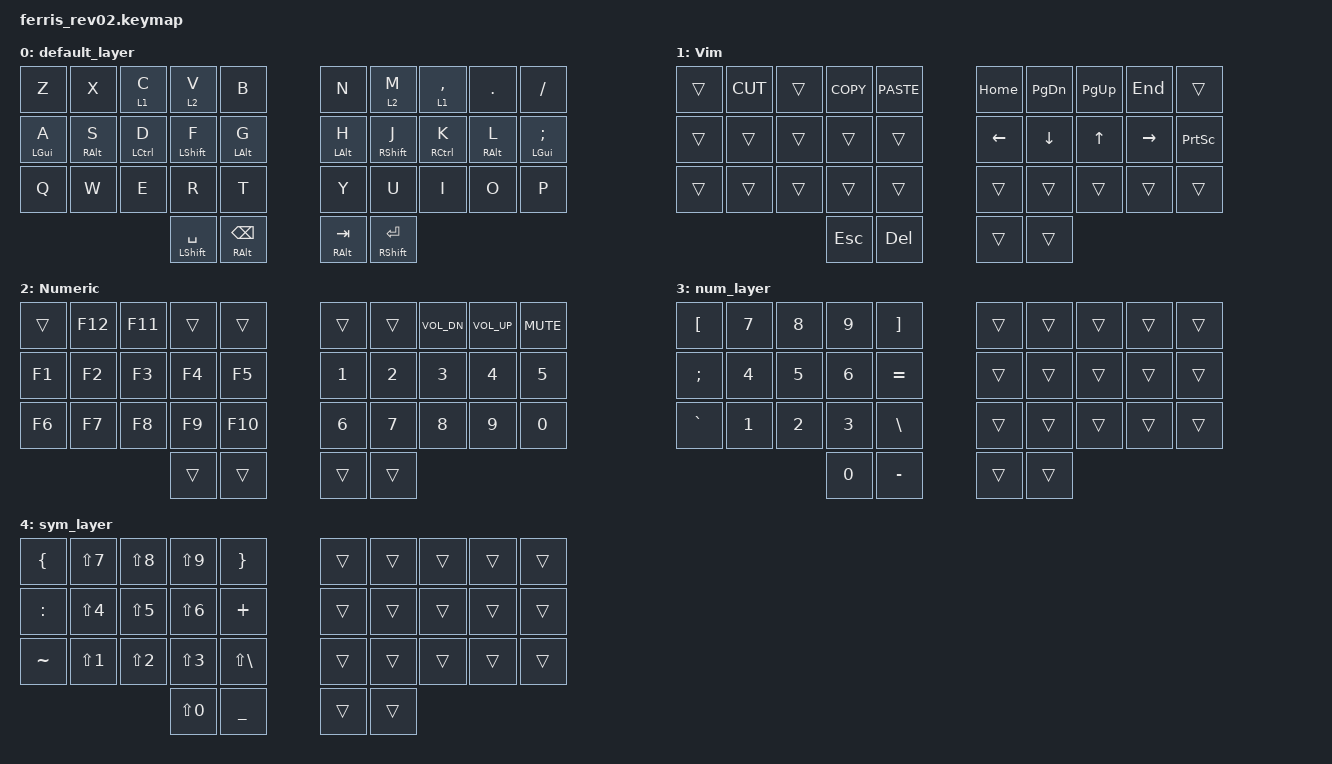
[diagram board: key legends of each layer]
/*
 * Copyright (c) 2020 The ZMK Contributors
 *
 * SPDX-License-Identifier: MIT
 */

#include <behaviors.dtsi>
#include <dt-bindings/zmk/keys.h>

#define NAV_L 1
#define OTHER_L 2
#define NUM_L 3
#define SYM_L 4

// Using layer taps on thumbs, having quick tap as well helps w/ repeating space/backspace

&lt { quick-tap-ms = <200>; };

/ {
    behaviors {
        hm: homerow_mods {
            compatible = "zmk,behavior-hold-tap";
            #binding-cells = <2>;
            tapping-term-ms = <200>;
            flavor = "tap-preferred";
            bindings = <&kp>, <&kp>;
        };
    };

    keymap {
        compatible = "zmk,keymap";

        default_layer {
            bindings = <
&kp Z       &kp X            &lt 1 C      &lt 2 V               &kp B                      &kp N              &lt 2 M                &lt 1 COMMA  &kp DOT          &kp FSLH
&hm LGUI A  &hm RIGHT_ALT S  &hm LCTRL D  &hm LSHFT F           &hm LEFT_ALT G             &hm LEFT_ALT H     &hm RSHFT J            &hm RCTRL K  &hm RIGHT_ALT L  &hm LGUI SEMI
&kp Q       &kp W            &kp E        &kp R                 &kp T                      &kp Y              &kp U                  &kp I        &kp O            &kp P
                                          &mt LEFT_SHIFT SPACE  &mt RIGHT_ALT BACKSPACE    &mt RIGHT_ALT TAB  &mt RIGHT_SHIFT ENTER
            >;
        };

        Vim {
            bindings = <
&trans  &kp K_CUT  &trans  &kp K_COPY  &kp K_PASTE    &kp HOME  &kp PAGE_DOWN  &kp PAGE_UP   &kp END    &trans
&trans  &trans     &trans  &trans      &trans         &kp LEFT  &kp DOWN       &kp UP_ARROW  &kp RIGHT  &kp PRINTSCREEN
&trans  &trans     &trans  &trans      &trans         &trans    &trans         &trans        &trans     &trans
                           &kp ESC     &kp DELETE     &trans    &trans
            >;
        };

        Numeric {
            bindings = <
&trans  &kp F12  &kp F11  &trans  &trans     &trans        &trans        &kp C_VOL_DN  &kp C_VOL_UP  &kp C_MUTE
&kp F1  &kp F2   &kp F3   &kp F4  &kp F5     &kp NUMBER_1  &kp NUMBER_2  &kp NUMBER_3  &kp NUMBER_4  &kp NUMBER_5
&kp F6  &kp F7   &kp F8   &kp F9  &kp F10    &kp NUMBER_6  &kp NUMBER_7  &kp NUMBER_8  &kp NUMBER_9  &kp NUMBER_0
                          &trans  &trans     &trans        &trans
            >;
        };

        num_layer {
            bindings = <
&kp LBKT   &kp N7  &kp N8  &kp N9  &kp RBKT     &trans  &trans  &trans  &trans  &trans
&kp SEMI   &kp N4  &kp N5  &kp N6  &kp EQUAL    &trans  &trans  &trans  &trans  &trans
&kp GRAVE  &kp N1  &kp N2  &kp N3  &kp BSLH     &trans  &trans  &trans  &trans  &trans
                           &kp N0  &kp MINUS    &trans  &trans
            >;
        };

        sym_layer {
            bindings = <
&kp LBRC   &kp LS(N7)  &kp LS(N8)  &kp LS(N9)  &kp RBRC        &trans  &trans  &trans  &trans  &trans
&kp COLON  &kp LS(N4)  &kp LS(N5)  &kp LS(N6)  &kp PLUS        &trans  &trans  &trans  &trans  &trans
&kp TILDE  &kp LS(N1)  &kp LS(N2)  &kp LS(N3)  &kp LS(BSLH)    &trans  &trans  &trans  &trans  &trans
                                   &kp LS(N0)  &kp UNDER       &trans  &trans
            >;
        };
    };
};
